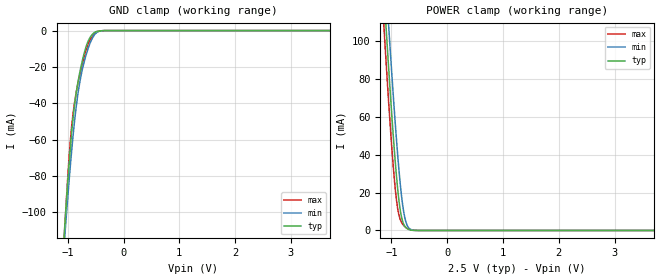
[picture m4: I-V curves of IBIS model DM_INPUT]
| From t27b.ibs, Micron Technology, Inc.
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|   MODEL DM_INPUT
[Model]   DM_INPUT
Model_type   Input
Vinl = 940.0mV
Vinh = 1.560V
|   typ   min   max
C_comp   3.42pF   3.22pF   3.74pF
[Model Spec]
| Input threshold voltage corners
Vinh   1.560V   1.460V   1.660V
Vinl   0.940V   0.840V   1.040V
[Voltage Range]   2.500V   2.300V   2.700V
| Junction Temperature (Ambient temp is 25C typ, 70C min, 0C max)
[Temperature Range]   40.0   85.0   0.0
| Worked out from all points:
|   GND clamp passes 1 mA (typ) near -0.52 V on its own axis
|   POWER clamp passes 1 mA (typ) near -0.72 V on its own axis
[GND Clamp]
|   Voltage   I(typ)   I(min)   I(max)
-2.5V     -921.4mA   -804.8mA   -1.09A
-1.07V    -116mA     NA         -118.6mA
-1.05V    -106.4mA   -112.4mA   -107.3mA
-990mV    -79.52mA   NA         -76.45mA
-950mV    -63.62mA   NA         -59.76mA
-870mV    -39.25mA   NA         -38.18mA
-810mV    -27.32mA   -33.52mA   NA
-730mV    -15.54mA   NA         -17.18mA
-630mV    -5.588mA   -9.47mA    -7.228mA
-510mV    -859.5uA   NA         NA
-370mV    0A         NA         NA
5V        0A         0A         0A
[POWER Clamp]
|   Voltage   I(typ)   I(min)   I(max)
-2.5V     861.8mA    874.8mA    854.6mA
-1.15V    133.2mA    NA         115.1mA
-1.11V    113.9mA    NA         95.68mA
-1.09V    104.4mA    NA         86.19mA
-1.05V    85.81mA    108.2mA    67.8mA
-950mV    43.17mA    NA         27.71mA
-910mV    28.75mA    NA         16.15mA
-870mV    16.93mA    NA         8.692mA
-790mV    3.976mA    11.68mA    2.959mA
-750mV    1.781mA    NA         NA
-690mV    506.5uA    NA         721.3uA
5V        0A         0A         0A
